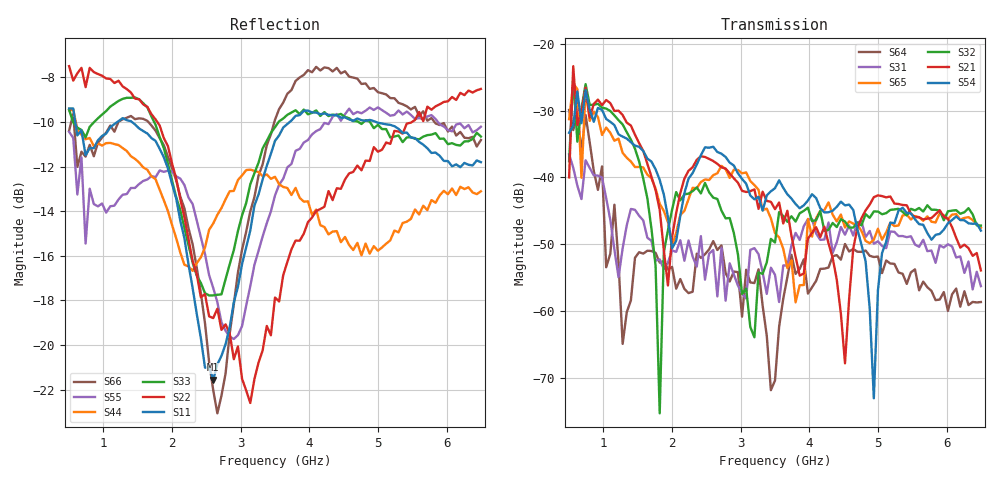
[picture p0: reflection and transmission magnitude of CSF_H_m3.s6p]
!Keysight Technologies,M9804A,MY58100912,A.14.10.03
!Date: Thursday, April 27, 2023 10:28:33
!Correction: S11(C  6-Port  )
!S12(C  6-Port  )
!S13(C  6-Port  )
!S14(C  6-Port  )
!S15(C  6-Port  )
!S16(C  6-Port  )
!S21(C  6-Port  )
!S22(C  6-Port  )
!S23(C  6-Port  )
!S24(C  6-Port  )
!S25(C  6-Port  )
!S26(C  6-Port  )
!S31(C  6-Port  )
!S32(C  6-Port  )
!S33(C  6-Port  )
!S34(C  6-Port  )
!S35(C  6-Port  )
!S36(C  6-Port  )
!S41(C  6-Port  )
!S42(C  6-Port  )
!S43(C  6-Port  )
!S44(C  6-Port  )
!S45(C  6-Port  )
!S46(C  6-Port  )
!S51(C  6-Port  )
!S52(C  6-Port  )
!S53(C  6-Port  )
!S54(C  6-Port  )
!S55(C  6-Port  )
!S56(C  6-Port  )
!S61(C  6-Port  )
!S62(C  6-Port  )
!S63(C  6-Port  )
!S64(C  6-Port  )
!S65(C  6-Port  )
!S66(C  6-Port  )
!S6P File: Measurement: :
# Hz S  RI  R 50
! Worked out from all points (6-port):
!   101 points, 500 MHz to 6.5 GHz, reference 50 ohm
!   strongest paths, dB at 500 MHz, 2 GHz, 3.5 GHz, 5 GHz, 6.5 GHz:
!     S54: -33.3, -50.6, -41.6, -56.9, -48.0
!     S21: -40.0, -48.9, -44.7, -42.7, -53.9
!     S32: -37.6, -44.9, -49.7, -45.1, -47.2
!     S65: -31.3, -50.4, -48.3, -47.7, -47.5
!     S31: -36.6, -50.9, -54.6, -49.6, -56.3
!     S64: -29.9, -53.4, -70.4, -51.8, -58.6
!   lowest |S11| = -21.6 dB at 2.6 GHz (marker M1), VSWR 1.18, Z = 42.6 + j2.17 ohm
!   |S11| at or under -10 dB: 590.3 MHz to 1.201 GHz (611 MHz wide, 68.2 % of centre); 1.416 GHz to 3.714 GHz (2.297 GHz wide, 89.6 % of centre); 4.974 GHz to end of sweep
